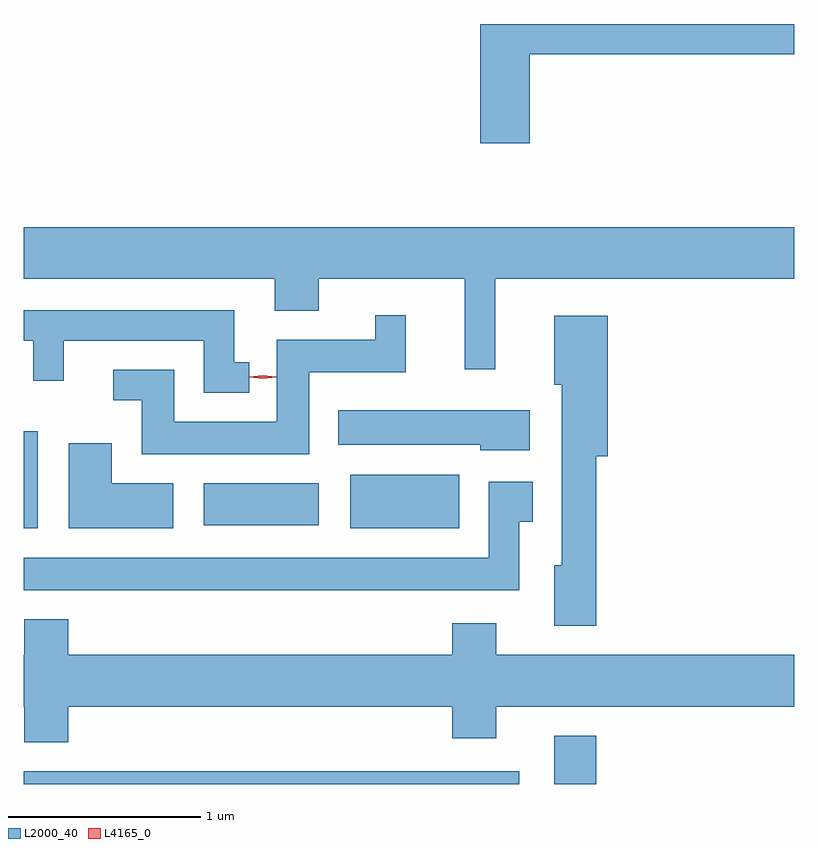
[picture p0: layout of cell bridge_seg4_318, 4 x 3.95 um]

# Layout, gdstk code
import gdstk
lib = gdstk.Library(unit=1e-6, precision=1e-09)
def R(c, l, rs):  # rectangles x0, y0, x1, y1
    for r in rs: c.add(gdstk.rectangle(r[:2], r[2:], *l))
def P(c, l, *ps):  # polygons
    for p in ps: c.add(gdstk.Polygon(p, *l))
L2000_40 = (2000, 40)
L4165_0 = (4165, 0)

bridge_seg4_318 = lib.new_cell('bridge_seg4_318')
R(bridge_seg4_318, L2000_40, [(529.617,1267.694,532.189,1267.759), (532.371,1267.694,532.589,1267.944), (529.617,1269.021,529.689,1269.524), (531.311,1269.021,531.879,1269.299), (530.551,1269.036,531.149,1269.254)])
P(bridge_seg4_318, L2000_40, [(532.244,1271.481),(533.617,1271.481),(533.617,1271.639),(531.986,1271.639),(531.986,1271.021),(532.244,1271.021)],
  [(532.064,1270.316),(533.617,1270.316),(533.617,1270.584),(529.617,1270.584),(529.617,1270.316),(530.921,1270.316),(530.921,1270.151),(531.149,1270.151),(531.149,1270.316),(531.906,1270.316),(531.906,1269.848),(532.064,1269.848)],
  [(530.788,1269.884),(530.709,1269.884),(530.709,1270.154),(529.617,1270.154),(529.617,1269.996),(529.666,1269.996),(529.666,1269.788),(529.824,1269.788),(529.824,1269.996),(530.551,1269.996),(530.551,1269.726),(530.788,1269.726)],
  [(531.099,1269.831),(531.599,1269.831),(531.599,1270.128),(531.441,1270.128),(531.441,1269.999),(530.931,1269.999),(530.931,1269.574),(530.399,1269.574),(530.399,1269.844),(530.083,1269.844),(530.083,1269.686),(530.231,1269.686),(530.231,1269.406),(531.099,1269.406)],
  [(532.589,1269.396),(532.649,1269.396),(532.649,1270.124),(532.371,1270.124),(532.371,1269.766),(532.411,1269.766),(532.411,1268.829),(532.371,1268.829),(532.371,1268.516),(532.589,1268.516)],
  [(532.244,1269.634),(531.251,1269.634),(531.251,1269.456),(531.986,1269.456),(531.986,1269.426),(532.244,1269.426)],
  [(530.394,1269.254),(530.074,1269.254),(530.074,1269.464),(529.851,1269.464),(529.851,1269.021),(530.394,1269.021)],
  [(532.189,1269.056),(532.259,1269.056),(532.259,1269.264),(532.031,1269.264),(532.031,1268.869),(529.617,1268.869),(529.617,1268.701),(532.189,1268.701)],
  [(529.849,1268.096),(531.841,1268.096),(531.841,1267.931),(532.069,1267.931),(532.069,1268.096),(533.617,1268.096),(533.617,1268.364),(532.069,1268.364),(532.069,1268.529),(531.841,1268.529),(531.841,1268.364),(529.849,1268.364),(529.849,1268.549),(529.621,1268.549),(529.621,1268.364),(529.617,1268.364),(529.617,1268.096),(529.621,1268.096),(529.621,1267.911),(529.849,1267.911)])
P(bridge_seg4_318, L4165_0, [(530.858,1269.797),(530.789,1269.806),(530.789,1269.807),(530.789,1269.808),(530.858,1269.817),(530.928,1269.808),(530.928,1269.807),(530.928,1269.806)])

lib.write_gds('bridge_seg4_318.gds')
